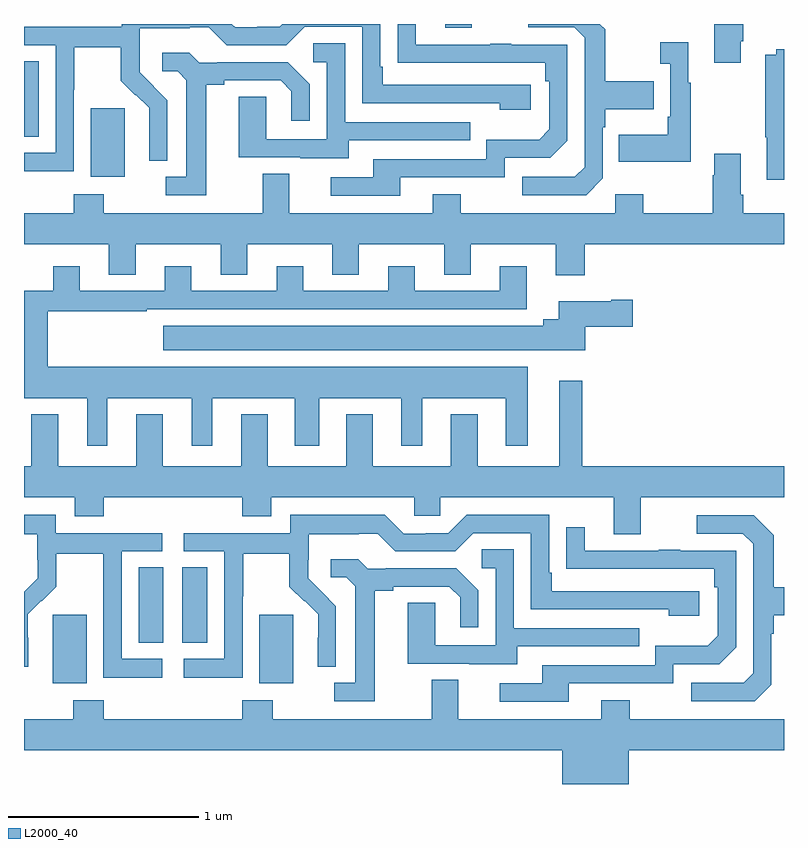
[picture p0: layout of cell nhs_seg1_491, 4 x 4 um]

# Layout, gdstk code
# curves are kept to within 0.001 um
import gdstk
lib = gdstk.Library(unit=1e-6, precision=1e-09)
def R(c, l, rs):  # rectangles x0, y0, x1, y1
    for r in rs: c.add(gdstk.rectangle(r[:2], r[2:], *l))
def P(c, l, *ps):  # polygons
    for p in ps: c.add(gdstk.Polygon(p, *l))
L2000_40 = (2000, 40)

nhs_seg1_491 = lib.new_cell('nhs_seg1_491')
R(nhs_seg1_491, L2000_40, [(137.15,574.73,137.329,575.091), (138.239,574.73,138.418,575.091), (137.603,574.942,137.734,575.339), (137.834,574.942,137.965,575.339), (137.351,577.394,137.53,577.755), (137,577.606,137.077,578.003), (139.217,578.178,139.357,578.199)])
P(nhs_seg1_491, L2000_40, [(140.773,578.107),(140.786,578.107),(140.786,578.199),(140.633,578.199),(140.633,577.995),(140.773,577.995)],
  [(137.262,577.852),(137.265,577.852),(137.265,578.076),(137.509,578.076),(137.509,577.901),(137.586,577.824),(137.589,577.827),(137.66,577.757),(137.66,577.634),(137.658,577.634),(137.658,577.48),(137.754,577.48),(137.754,577.798),(137.608,577.946),(137.608,578.043),(137.61,578.043),(137.61,578.177),(137.873,578.177),(137.873,578.181),(137.973,578.181),(138.066,578.088),(138.381,578.088),(138.477,578.184),(138.78,578.184),(138.78,577.782),(139.505,577.782),(139.505,577.748),(139.666,577.748),(139.666,577.878),(138.889,577.878),(138.889,577.975),(138.876,577.975),(138.876,578.199),(138.36,578.199),(138.345,578.184),(138.227,578.184),(138.227,578.181),(138.111,578.181),(138.093,578.199),(137.514,578.199),(137.514,578.184),(137,578.184),(137,578.088),(137.166,578.088),(137.166,577.521),(137,577.521),(137,577.423),(137.262,577.423)],
  [(140.046,577.386),(140.046,577.655),(140.059,577.655),(140.059,577.751),(140.315,577.751),(140.315,577.899),(140.059,577.899),(140.059,578.171),(140.031,578.199),(139.653,578.199),(139.653,578.181),(139.896,578.181),(139.95,578.127),(139.95,577.446),(139.899,577.395),(139.623,577.395),(139.623,577.299),(139.959,577.299)],
  [(138.979,577.392),(139.53,577.392),(139.53,577.494),(139.77,577.494),(139.86,577.584),(139.86,578.091),(139.565,578.091),(139.565,578.096),(139.453,578.096),(139.453,578.091),(139.063,578.091),(139.063,578.199),(138.967,578.199),(138.967,577.996),(139.744,577.995),(139.744,577.898),(139.764,577.898),(139.764,577.644),(139.711,577.591),(139.434,577.591),(139.434,577.488),(138.839,577.488),(138.839,577.392),(138.615,577.392),(138.615,577.296),(138.979,577.296)],
  [(140.509,577.891),(140.497,577.891),(140.497,578.104),(140.349,578.104),(140.349,577.991),(140.4,577.991),(140.4,577.711),(140.388,577.711),(140.388,577.615),(140.131,577.615),(140.131,577.475),(140.509,577.475)],
  [(138.709,577.587),(139.349,577.587),(139.349,577.683),(138.69,577.683),(138.69,578.099),(138.522,578.099),(138.522,577.998),(138.594,577.998),(138.594,577.593),(138.276,577.593),(138.276,577.817),(138.131,577.817),(138.131,577.497),(138.455,577.497),(138.455,577.493),(138.709,577.493)],
  [(141,578.067),(140.958,578.067),(140.958,578.038),(140.902,578.038),(140.902,577.603),(140.909,577.603),(140.909,577.38),(141,577.38)],
  [(137.959,577.88),(138.055,577.88),(138.055,577.902),(138.35,577.902),(138.407,577.845),(138.407,577.689),(138.504,577.689),(138.504,577.882),(138.388,577.998),(138.016,577.998),(138.016,577.995),(137.922,577.995),(137.87,578.047),(137.727,578.047),(137.727,577.95),(137.808,577.95),(137.855,577.903),(137.855,577.395),(137.745,577.395),(137.745,577.299),(137.959,577.299)],
  [(139.952,577.04),(141,577.04),(141,577.204),(140.786,577.204),(140.786,577.3),(140.773,577.3),(140.773,577.516),(140.633,577.516),(140.633,577.403),(140.626,577.403),(140.626,577.204),(140.259,577.204),(140.259,577.303),(140.112,577.303),(140.112,577.204),(139.299,577.204),(139.299,577.303),(139.151,577.303),(139.151,577.204),(138.397,577.204),(138.397,577.412),(138.257,577.412),(138.257,577.204),(137.421,577.204),(137.421,577.303),(137.261,577.303),(137.261,577.204),(137,577.204),(137,577.04),(137.447,577.04),(137.447,576.88),(137.587,576.88),(137.587,577.04),(138.035,577.04),(138.035,576.88),(138.175,576.88),(138.175,577.04),(138.623,577.04),(138.623,576.88),(138.763,576.88),(138.763,577.04),(139.211,577.04),(139.211,576.88),(139.351,576.88),(139.351,577.04),(139.799,577.04),(139.799,576.876),(139.952,576.876)],
  [(137.437,576.23),(137.882,576.23),(137.882,575.979),(137.992,575.979),(137.992,576.23),(138.425,576.23),(138.425,575.979),(138.553,575.979),(138.553,576.23),(138.986,576.23),(138.986,575.979),(139.096,575.979),(139.096,576.23),(139.535,576.23),(139.535,575.979),(139.651,575.979),(139.651,576.394),(137.125,576.394),(137.125,576.687),(137.645,576.687),(137.645,576.699),(139.645,576.699),(139.645,576.925),(139.505,576.925),(139.505,576.795),(139.057,576.795),(139.057,576.925),(138.917,576.925),(138.917,576.795),(138.469,576.795),(138.469,576.925),(138.329,576.925),(138.329,576.795),(137.881,576.795),(137.881,576.925),(137.741,576.925),(137.741,576.795),(137.293,576.795),(137.293,576.925),(137.153,576.925),(137.153,576.796),(137,576.796),(137,576.23),(137.333,576.23),(137.333,575.979),(137.437,575.979)],
  [(139.954,576.605),(140.203,576.605),(140.203,576.747),(140.09,576.747),(140.09,576.739),(139.814,576.739),(139.814,576.646),(139.733,576.646),(139.733,576.61),(137.733,576.61),(137.733,576.482),(139.954,576.482)],
  [(140.245,575.708),(141,575.708),(141,575.872),(139.939,575.872),(139.939,576.322),(139.817,576.322),(139.817,575.872),(139.387,575.872),(139.387,576.145),(139.247,576.145),(139.247,575.872),(138.835,575.872),(138.835,576.145),(138.695,576.145),(138.695,575.872),(138.283,575.872),(138.283,576.145),(138.143,576.145),(138.143,575.872),(137.731,575.872),(137.731,576.145),(137.591,576.145),(137.591,575.872),(137.179,575.872),(137.179,576.145),(137.039,576.145),(137.039,575.872),(137,575.872),(137,575.708),(137.267,575.708),(137.267,575.609),(137.42,575.609),(137.42,575.708),(138.149,575.708),(138.149,575.609),(138.301,575.609),(138.301,575.708),(139.053,575.708),(139.053,575.61),(139.191,575.61),(139.191,575.708),(140.105,575.708),(140.105,575.514),(140.245,575.514)],
  [(137.728,574.857),(137.514,574.857),(137.514,575.424),(137.728,575.424),(137.728,575.52),(137.166,575.52),(137.166,575.617),(137,575.617),(137,575.513),(137.07,575.513),(137.07,575.379),(137.072,575.379),(137.072,575.282),(137,575.21),(137,574.816),(137.022,574.816),(137.021,575.093),(137.091,575.163),(137.094,575.16),(137.171,575.237),(137.171,575.412),(137.416,575.412),(137.416,575.188),(137.418,575.188),(137.418,574.759),(137.728,574.759)],
  [(138.15,575.188),(138.153,575.188),(138.153,575.412),(138.397,575.412),(138.397,575.237),(138.474,575.16),(138.477,575.163),(138.548,575.093),(138.548,574.97),(138.546,574.97),(138.546,574.816),(138.642,574.816),(138.642,575.134),(138.496,575.282),(138.496,575.379),(138.498,575.379),(138.498,575.513),(138.761,575.513),(138.761,575.517),(138.861,575.517),(138.954,575.424),(139.269,575.424),(139.365,575.52),(139.668,575.52),(139.668,575.118),(140.393,575.118),(140.393,575.084),(140.554,575.084),(140.554,575.214),(139.777,575.214),(139.777,575.311),(139.764,575.311),(139.764,575.616),(139.329,575.616),(139.233,575.52),(139.115,575.52),(139.115,575.517),(138.999,575.517),(138.899,575.617),(138.402,575.617),(138.402,575.52),(137.841,575.52),(137.841,575.424),(138.054,575.424),(138.054,574.857),(137.841,574.857),(137.841,574.759),(138.15,574.759)],
  [(140.934,574.722),(140.934,574.991),(140.947,574.991),(140.947,575.087),(141,575.087),(141,575.235),(140.947,575.235),(140.947,575.507),(140.841,575.613),(140.541,575.613),(140.541,575.517),(140.784,575.517),(140.838,575.463),(140.838,574.782),(140.787,574.731),(140.511,574.731),(140.511,574.635),(140.847,574.635)],
  [(139.867,574.728),(140.418,574.728),(140.418,574.83),(140.658,574.83),(140.748,574.92),(140.748,575.427),(140.453,575.427),(140.453,575.432),(140.341,575.432),(140.341,575.427),(139.951,575.427),(139.951,575.551),(139.855,575.551),(139.855,575.332),(140.632,575.331),(140.632,575.234),(140.652,575.234),(140.652,574.98),(140.599,574.927),(140.322,574.927),(140.322,574.824),(139.727,574.824),(139.727,574.728),(139.503,574.728),(139.503,574.632),(139.867,574.632)],
  [(139.597,574.923),(140.237,574.923),(140.237,575.019),(139.578,575.019),(139.578,575.435),(139.41,575.435),(139.41,575.334),(139.482,575.334),(139.482,574.929),(139.164,574.929),(139.164,575.153),(139.019,575.153),(139.019,574.833),(139.343,574.833),(139.343,574.829),(139.597,574.829)],
  [(138.847,575.216),(138.943,575.216),(138.943,575.238),(139.238,575.238),(139.295,575.181),(139.295,575.025),(139.392,575.025),(139.392,575.218),(139.276,575.334),(138.904,575.334),(138.904,575.331),(138.81,575.331),(138.758,575.383),(138.615,575.383),(138.615,575.286),(138.696,575.286),(138.743,575.239),(138.743,574.731),(138.633,574.731),(138.633,574.635),(138.847,574.635)],
  [(140.182,574.376),(141,574.376),(141,574.54),(140.187,574.54),(140.187,574.639),(140.039,574.639),(140.039,574.54),(139.285,574.54),(139.285,574.748),(139.145,574.748),(139.145,574.54),(138.309,574.54),(138.309,574.639),(138.149,574.639),(138.149,574.54),(137.42,574.54),(137.42,574.639),(137.26,574.639),(137.26,574.54),(137,574.54),(137,574.376),(139.832,574.376),(139.832,574.199),(140.182,574.199)])

lib.write_gds('nhs_seg1_491.gds')
